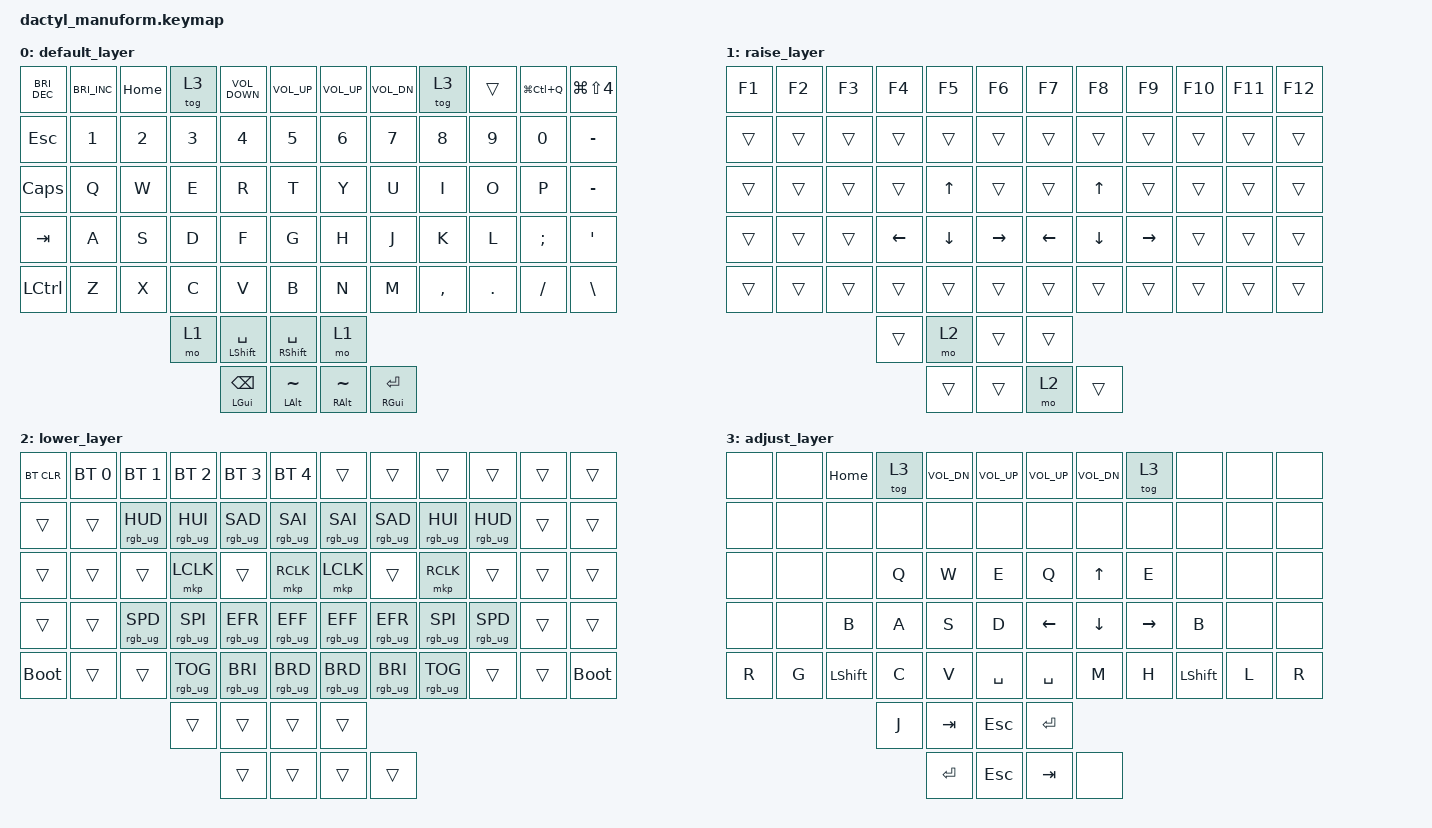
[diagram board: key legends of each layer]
#include <behaviors.dtsi>
#include <dt-bindings/zmk/bt.h>
#include <dt-bindings/zmk/keys.h>
#include <dt-bindings/zmk/mouse.h>
#include <dt-bindings/zmk/rgb.h>

#define DEFAULT 0
#define LWR 1
#define RSE 2
#define ADJ 3

/ {
    macros {
        custom_prt_screen: zed_em_kay {
            compatible = "zmk,behavior-macro";
            #binding-cells = <0>;
            bindings =
                <&macro_press>,
                <&kp LGUI>,
                <&macro_press>,
                <&kp LSHFT>,
                <&macro_tap>,
                <&kp N4>,
                <&macro_release>,
                <&kp LSHFT>,
                <&macro_release>,
                <&kp LGUI>;
        };

        custom_lock: custom_lock {
            compatible = "zmk,behavior-macro";
            #binding-cells = <0>;
            bindings =
                <&macro_press>,
                <&kp LGUI>,
                <&macro_press>,
                <&kp LEFT_CONTROL>,
                <&macro_tap>,
                <&kp Q>,
                <&macro_release>,
                <&kp LEFT_CONTROL>,
                <&macro_release>,
                <&kp LGUI>;

            label = "CUSTOM_LOCK";
        };
    };
};
/ {
    keymap {
        compatible = "zmk,keymap";

        default_layer {
            bindings = <
&kp C_BRIGHTNESS_DEC  &kp C_BRIGHTNESS_INC  &kp HOME            &tog 3              &kp C_VOLUME_DOWN  &kp C_VOL_UP       &kp C_VOL_UP           &kp C_VOL_DN  &tog 3               &trans                &kp LG(LC(Q))  &kp LG(LS(N4))
&kp ESC               &kp NUMBER_1          &kp NUMBER_2        &kp NUMBER_3        &kp NUMBER_4       &kp N5             &kp NUMBER_6           &kp N7        &kp N8               &kp N9                &kp N0         &kp MINUS
&kp CAPS              &kp Q                 &kp W               &kp E               &kp R              &kp T              &kp Y                  &kp U         &kp I                &kp O                 &kp P          &kp MINUS
&kp TAB               &kp A                 &kp S               &kp D               &kp F              &kp G              &kp H                  &kp J         &kp K                &kp L                 &kp SEMI       &kp SQT
&kp LCTRL             &kp Z                 &kp X               &kp C               &kp V              &kp B              &kp N                  &kp M         &kp COMMA            &kp DOT               &kp FSLH       &kp BSLH
                                                                &mo 1              &mt LSHFT SPACE    &mt RIGHT_SHIFT SPACE  &mo 1
                                                                                    &mt LGUI BACKSPACE  &mt LEFT_ALT TILDE &mt RIGHT_ALT TILDE  &mt RIGHT_GUI RETURN
            >;
        };

        raise_layer {
            bindings = <
&kp F1  &kp F2  &kp F3  &kp F4          &kp F5          &kp F6             &kp F7          &kp F8          &kp F9           &kp F10  &kp F11  &kp F12
&trans  &trans  &trans  &trans          &trans          &trans             &trans          &trans          &trans           &trans   &trans   &trans
&trans  &trans  &trans  &trans          &kp UP_ARROW    &trans             &trans          &kp UP_ARROW    &trans           &trans   &trans   &trans
&trans  &trans  &trans  &kp LEFT_ARROW  &kp DOWN_ARROW  &kp RIGHT_ARROW    &kp LEFT_ARROW  &kp DOWN_ARROW  &kp RIGHT_ARROW  &trans   &trans   &trans
&trans  &trans  &trans  &trans          &trans          &trans             &trans          &trans          &trans           &trans   &trans   &trans
                &trans  &mo 2           &trans          &trans             &trans          &trans          &mo 2            &trans
            >;
        };

        lower_layer {
            bindings = <
&bt BT_CLR   &bt BT_SEL 0  &bt BT_SEL 1     &bt BT_SEL 2     &bt BT_SEL 3     &bt BT_SEL 4       &trans           &trans           &trans           &trans           &trans  &trans
&trans       &trans        &rgb_ug RGB_HUD  &rgb_ug RGB_HUI  &rgb_ug RGB_SAD  &rgb_ug RGB_SAI    &rgb_ug RGB_SAI  &rgb_ug RGB_SAD  &rgb_ug RGB_HUI  &rgb_ug RGB_HUD  &trans  &trans
&trans       &trans        &trans           &mkp LCLK        &trans           &mkp RCLK          &mkp LCLK        &trans           &mkp RCLK        &trans           &trans  &trans
&trans       &trans        &rgb_ug RGB_SPD  &rgb_ug RGB_SPI  &rgb_ug RGB_EFR  &rgb_ug RGB_EFF    &rgb_ug RGB_EFF  &rgb_ug RGB_EFR  &rgb_ug RGB_SPI  &rgb_ug RGB_SPD  &trans  &trans
&bootloader  &trans        &trans           &rgb_ug RGB_TOG  &rgb_ug RGB_BRI  &rgb_ug RGB_BRD    &rgb_ug RGB_BRD  &rgb_ug RGB_BRI  &rgb_ug RGB_TOG  &trans           &trans  &bootloader
                           &trans           &trans           &trans           &trans             &trans           &trans           &trans           &trans
            >;
        };

        adjust_layer {
            bindings = <
&none  &none  &kp HOME        &tog 3   &kp C_VOL_DN  &kp C_VOLUME_UP    &kp C_VOLUME_UP  &kp C_VOL_DN  &tog 3     &none           &none  &none
&none  &none  &none           &none    &none         &none              &none            &none         &none      &none           &none  &none
&none  &none  &none           &kp Q    &kp W         &kp E              &kp Q            &kp UP        &kp E      &none           &none  &none
&none  &none  &kp B           &kp A    &kp S         &kp D              &kp LEFT         &kp DOWN      &kp RIGHT  &kp B           &none  &none
&kp R  &kp G  &kp LEFT_SHIFT  &kp C    &kp V         &kp SPACE          &kp SPACE        &kp M         &kp H      &kp LEFT_SHIFT  &kp L  &kp R
              &kp J           &kp TAB  &kp ESC       &kp RET            &kp RETURN       &kp ESC       &kp TAB    &none
            >;
        };
    };
};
